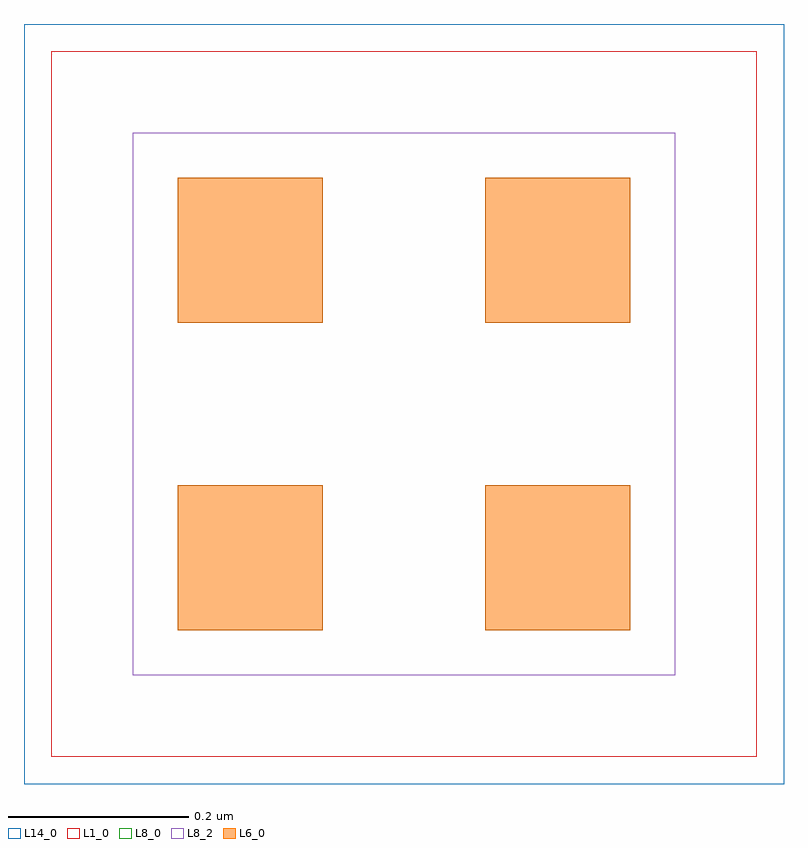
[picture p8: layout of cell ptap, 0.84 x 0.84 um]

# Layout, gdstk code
import gdstk
lib = gdstk.Library(unit=1e-6, precision=1e-09)
def R(c, l, rs):  # rectangles x0, y0, x1, y1
    for r in rs: c.add(gdstk.rectangle(r[:2], r[2:], *l))
L1_0 = (1, 0)
L6_0 = (6, 0)
L8_0 = (8, 0)
L8_2 = (8, 2)
L14_0 = (14, 0)

ptap = lib.new_cell('ptap')
R(ptap, L1_0, [(0,0,0.78,0.78), (0,0,0.78,0.78)])
R(ptap, L6_0, [(0.14,0.14,0.3,0.3), (0.14,0.14,0.3,0.3), (0.48,0.14,0.64,0.3), (0.48,0.14,0.64,0.3), (0.14,0.48,0.3,0.64), (0.14,0.48,0.3,0.64), (0.48,0.48,0.64,0.64), (0.48,0.48,0.64,0.64)])
R(ptap, L8_0, [(0.09,0.09,0.69,0.69), (0.09,0.09,0.69,0.69)])
R(ptap, L8_2, [(0.09,0.09,0.69,0.69), (0.09,0.09,0.69,0.69)])
R(ptap, L14_0, [(-0.03,-0.03,0.81,0.81), (-0.03,-0.03,0.81,0.81)])

lib.write_gds('ptap.gds')
